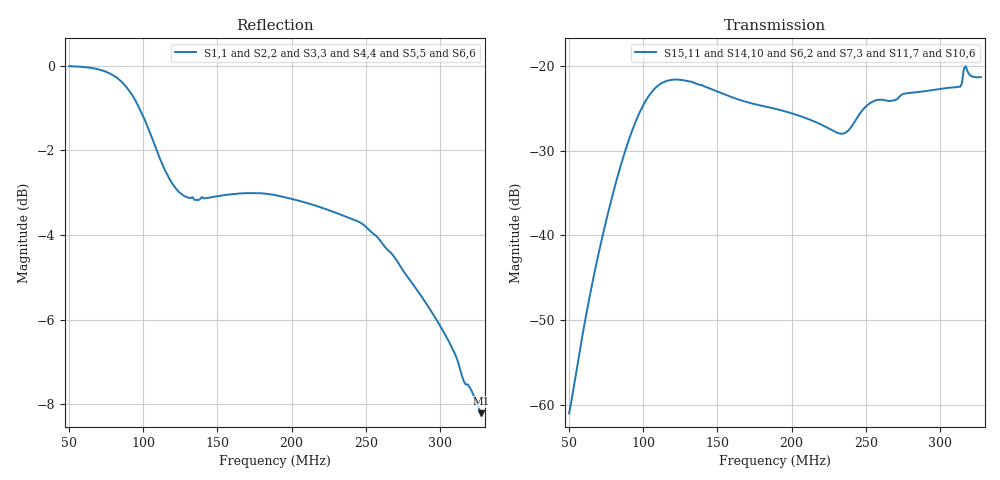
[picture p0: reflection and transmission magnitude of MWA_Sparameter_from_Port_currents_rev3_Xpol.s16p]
# Hz S RI R 100
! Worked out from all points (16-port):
!   218 points, 49.92 MHz to 327.7 MHz, reference 100 ohm
!   strongest paths, dB at 49.92 MHz, 119 MHz, 189.4 MHz, 258.6 MHz, 327.7 MHz:
!     S15,11: -61.0, -21.6, -25.1, -24.0, -21.3
!     S14,10: -61.0, -21.6, -25.1, -24.0, -21.3
!     S6,2: -61.0, -21.6, -25.1, -24.0, -21.3
!     S7,3: -61.0, -21.6, -25.1, -24.0, -21.3
!     S11,7: -61.1, -21.5, -25.1, -24.0, -21.6
!     S10,6: -61.1, -21.5, -25.1, -24.0, -21.6
!   lowest |S11| = -8.2 dB at 327.7 MHz (marker M1), VSWR 2.27, Z = 157 - j89 ohm
!   |S11| at or under -10 dB: nowhere
